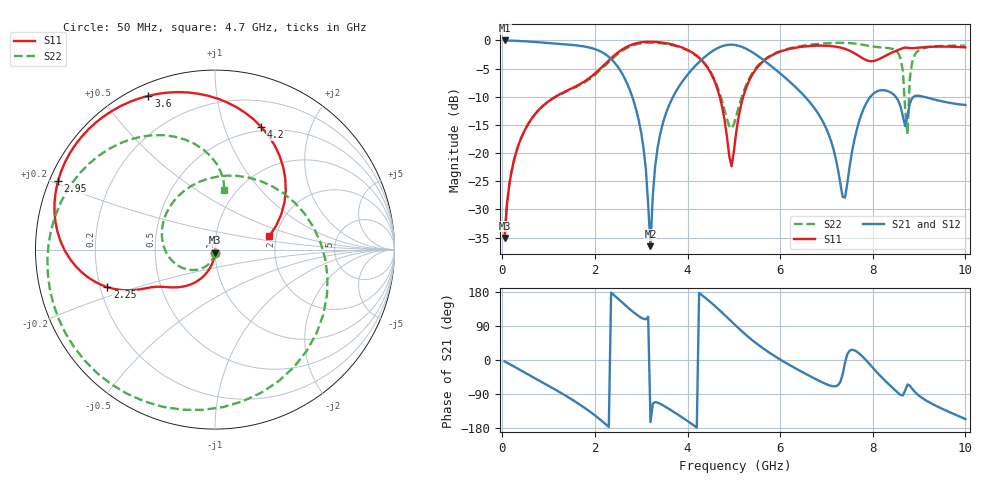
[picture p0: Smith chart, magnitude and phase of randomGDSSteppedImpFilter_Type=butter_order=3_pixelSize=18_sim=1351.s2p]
! freq	dB(S11)	phase(S11)	dB(S12)	phase(S12)
!  dB(S21)	phase(S21)	dB(S22)	phase(S22)
!S-par simulation data
#  GHz  S  DB  R 50
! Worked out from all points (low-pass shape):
!   200 points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, 50 MHz to 10 GHz, reference 50 ohm
!   highest |S21| = -0.01 dB at 50 MHz (marker M1); lowest = -36.5 dB at 3.2 GHz (marker M2)
!   |S21| within 3 dB of the highest: start of sweep to 2.311 GHz; 4.361 GHz to 5.562 GHz (1.2 GHz wide, 24.2 % of centre)
!   lowest |S11| = -35.1 dB at 50 MHz (marker M3), VSWR 1.04, Z = 49.9 - j1.76 ohm
!   |S11| at or under -10 dB: start of sweep to 1.146 GHz; 4.695 GHz to 5.203 GHz (508.7 MHz wide, 10.3 % of centre)
!   |S22| runs from -35.1 to -0.4 dB; largest |S21 - S12| = 0
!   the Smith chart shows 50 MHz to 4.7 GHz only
!   S11 on the Smith chart (normalised r, x): 50 MHz: 1.00, -0.04; 2.25 GHz: 0.23, -0.16; 2.95 GHz: 0.02, +0.21; 3.6 GHz: 0.05, +0.66; 4.2 GHz: 0.46, +1.34; 4.7 GHz: 1.83, +0.30
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0.05  -35.09 -92.2  -0.01 -3.5  -0.01 -3.5  -35.11 -94.3
0.5  -15.69 -113.8  -0.16 -34.3  -0.16 -34.3  -15.73 -135.8
1.75  -7.40 -150.1  -1.05 -123.9  -1.05 -123.9  -7.59 80.9
2.25  -3.94 -160.8  -2.61 -171.3  -2.61 -171.3  -4.21 -4.6
2.95  -0.41 156.5  -14.32 115.4  -14.32 115.4  -0.60 -115.0
3.2  -0.23 139.6  -36.54 -164.0  -36.54 -164.0  -0.40 -145.4
3.4  -0.33 126.5  -17.01 -114.9  -17.01 -114.9  -0.48 -166.8
3.6  -0.59 113.4  -11.56 -129.1  -11.56 -129.1  -0.72 173.5
4.2  -2.73 69.3  -4.25 -178.5  -4.25 -178.5  -2.77 118.8
4.7  -10.15 13.8  -1.18 130.4  -1.18 130.4  -9.47 81.1
4.95  -22.36 -95.2  -0.76 101.4  -0.76 101.4  -15.63 115.5
5.05  -16.36 -160.8  -0.85 89.8  -0.85 89.8  -13.49 138.8
5.95  -2.15 91.2  -5.51 5.0  -5.51 5.0  -2.06 93.8
6.7  -0.96 33.2  -11.59 -46.2  -11.59 -46.2  -0.72 47.1
7.35  -1.38 -35.1  -27.79 -37.8  -27.79 -37.8  -0.43 11.5
7.65  -2.50 -90.0  -15.99 22.4  -15.99 22.4  -0.59 -4.5
8  -3.68 172.4  -9.56 -20.3  -9.56 -20.3  -1.08 -21.1
8.35  -2.41 90.0  -9.09 -64.5  -9.09 -64.5  -1.37 -39.5
8.7  -1.27 40.2  -15.21 -80.2  -15.21 -80.2  -12.26 -111.8
8.75  -1.30 34.0  -13.41 -64.5  -13.41 -64.5  -16.71 44.2
8.8  -1.36 28.9  -11.21 -67.8  -11.21 -67.8  -6.74 19.8
10  -1.25 -63.5  -11.47 -155.9  -11.47 -155.9  -0.95 -69.4
